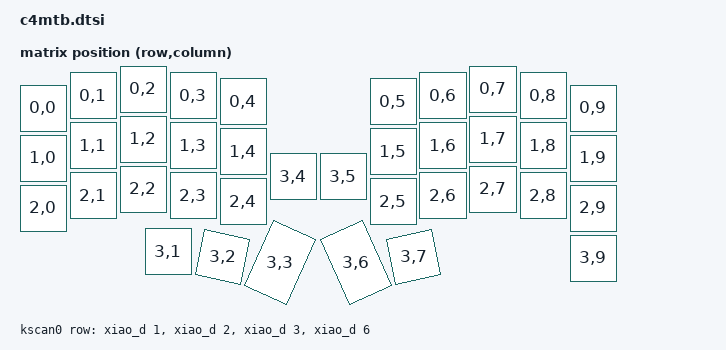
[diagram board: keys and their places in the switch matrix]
#include <dt-bindings/zmk/matrix_transform.h>
#include <physical_layouts.dtsi>
#include <input/processors.dtsi>

/ {
    chosen {
        zmk,physical-layout = &c4mtb_physical_layout;
    };

    /*
     * Binding order is left-to-right as viewed from above:
     *   3 rows x (5L + 5R), then 4 left and 4 right lower keys.
     * Coordinates are expressed in centi-key-units and match config/info.json.
     * x/y are the key's top-left corner, so a 150-wide key
     * starts 25 further left than a 100-wide key on the same centre; rx/ry are
     * the rotation origin and stay on the centre. The halves are separated only
     * for Studio display. scripts/verify_firmware_hardware.py checks all 38.
     */
    c4mtb_physical_layout: c4mtb_physical_layout {
        compatible = "zmk,physical-layout";
        display-name = "c4mtb 3x5+4";
        kscan = <&kscan0>;
        transform = <&default_transform>;

        keys  // w   h    x    y       rot    rx    ry
            = <&key_physical_attrs 100 100    0   38         0     0     0>
            , <&key_physical_attrs 100 100  100   13         0     0     0>
            , <&key_physical_attrs 100 100  200    0         0     0     0>
            , <&key_physical_attrs 100 100  300   13         0     0     0>
            , <&key_physical_attrs 100 100  400   25         0     0     0>
            , <&key_physical_attrs 100 100  700   25         0     0     0>
            , <&key_physical_attrs 100 100  800   13         0     0     0>
            , <&key_physical_attrs 100 100  900    0         0     0     0>
            , <&key_physical_attrs 100 100 1000   13         0     0     0>
            , <&key_physical_attrs 100 100 1100   38         0     0     0>

            , <&key_physical_attrs 100 100    0  138         0     0     0>
            , <&key_physical_attrs 100 100  100  113         0     0     0>
            , <&key_physical_attrs 100 100  200  100         0     0     0>
            , <&key_physical_attrs 100 100  300  113         0     0     0>
            , <&key_physical_attrs 100 100  400  125         0     0     0>
            , <&key_physical_attrs 100 100  700  125         0     0     0>
            , <&key_physical_attrs 100 100  800  113         0     0     0>
            , <&key_physical_attrs 100 100  900  100         0     0     0>
            , <&key_physical_attrs 100 100 1000  113         0     0     0>
            , <&key_physical_attrs 100 100 1100  138         0     0     0>

            , <&key_physical_attrs 100 100    0  238         0     0     0>
            , <&key_physical_attrs 100 100  100  213         0     0     0>
            , <&key_physical_attrs 100 100  200  200         0     0     0>
            , <&key_physical_attrs 100 100  300  213         0     0     0>
            , <&key_physical_attrs 100 100  400  225         0     0     0>
            , <&key_physical_attrs 100 100  700  225         0     0     0>
            , <&key_physical_attrs 100 100  800  213         0     0     0>
            , <&key_physical_attrs 100 100  900  200         0     0     0>
            , <&key_physical_attrs 100 100 1000  213         0     0     0>
            , <&key_physical_attrs 100 100 1100  238         0     0     0>

            , <&key_physical_attrs 100 100  250  325         0     0     0>
            , <&key_physical_attrs 100 100  359  336      1194   409   386>
            , <&key_physical_attrs 150 100  449  347    (-6612)  524   397>
            , <&key_physical_attrs 100 100  500  175         0     0     0>
            , <&key_physical_attrs 100 100  600  175         0     0     0>
            , <&key_physical_attrs 150 100  601  347      6612   676   397>
            , <&key_physical_attrs 100 100  741  336    (-1194)  791   386>
            , <&key_physical_attrs 100 100 1100  338         0     0     0>
            ;
    };

    /*
     * PCB nets are 4x5 on each half. Left Col0..4 run outer-to-inner,
     * right Col0..4 run inner-to-outer. The only unused points are
     * L Row3/Col0 and R Row3/Col3.
     */
    default_transform: keymap_transform_0 {
        compatible = "zmk,matrix-transform";
        columns = <10>;
        rows = <4>;
        map = <
            RC(0,0) RC(0,1) RC(0,2) RC(0,3) RC(0,4)   RC(0,5) RC(0,6) RC(0,7) RC(0,8) RC(0,9)
            RC(1,0) RC(1,1) RC(1,2) RC(1,3) RC(1,4)   RC(1,5) RC(1,6) RC(1,7) RC(1,8) RC(1,9)
            RC(2,0) RC(2,1) RC(2,2) RC(2,3) RC(2,4)   RC(2,5) RC(2,6) RC(2,7) RC(2,8) RC(2,9)
                    RC(3,1) RC(3,2) RC(3,3) RC(3,4)   RC(3,5) RC(3,6) RC(3,7)         RC(3,9)
        >;
    };

    kscan0: kscan {
        compatible = "zmk,kscan-gpio-matrix";
        diode-direction = "col2row";
        row-gpios
            = <&xiao_d 1 (GPIO_ACTIVE_HIGH | GPIO_PULL_DOWN)>
            , <&xiao_d 2 (GPIO_ACTIVE_HIGH | GPIO_PULL_DOWN)>
            , <&xiao_d 3 (GPIO_ACTIVE_HIGH | GPIO_PULL_DOWN)>
            , <&xiao_d 6 (GPIO_ACTIVE_HIGH | GPIO_PULL_DOWN)>
            ;
    };

    /*
     * No base input-processors on purpose: an auto-mouse layer (zip_temp_layer)
     * fires on any pointer motion, so a brushed ball would silently shift the
     * keymap mid-typing. Scrolling is entered from a held key instead, via the
     * layer override in c4mtb_r.overlay.
     */
    trackball_listener: trackball_listener {
        compatible = "zmk,input-listener";
        status = "disabled";
    };
};
